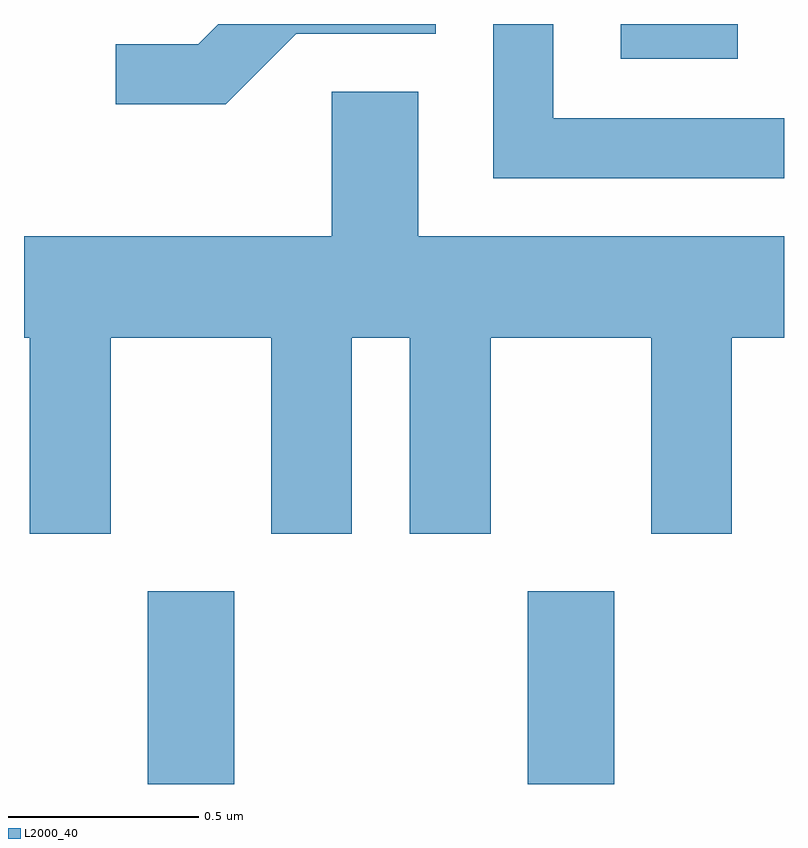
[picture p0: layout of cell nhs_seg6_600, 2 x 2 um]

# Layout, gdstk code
import gdstk
lib = gdstk.Library(unit=1e-6, precision=1e-09)
def R(c, l, rs):  # rectangles x0, y0, x1, y1
    for r in rs: c.add(gdstk.rectangle(r[:2], r[2:], *l))
def P(c, l, *ps):  # polygons
    for p in ps: c.add(gdstk.Polygon(p, *l))
L2000_40 = (2000, 40)

nhs_seg6_600 = lib.new_cell('nhs_seg6_600')
R(nhs_seg6_600, L2000_40, [(189.936,1582.162,190.164,1582.669), (190.936,1582.162,191.164,1582.669), (191.181,1584.071,191.489,1584.162)])
P(nhs_seg6_600, L2000_40, [(191.611,1583.914),(191.004,1583.914),(191.004,1584.162),(190.846,1584.162),(190.846,1583.756),(191.611,1583.756)],
  [(190.327,1584.136),(190.694,1584.136),(190.694,1584.162),(190.122,1584.162),(190.069,1584.109),(189.853,1584.109),(189.853,1583.951),(190.142,1583.951)],
  [(189.839,1583.336),(190.261,1583.336),(190.261,1582.821),(190.474,1582.821),(190.474,1583.336),(190.626,1583.336),(190.626,1582.821),(190.839,1582.821),(190.839,1583.336),(191.261,1583.336),(191.261,1582.821),(191.474,1582.821),(191.474,1583.336),(191.611,1583.336),(191.611,1583.604),(190.649,1583.604),(190.649,1583.984),(190.421,1583.984),(190.421,1583.604),(189.611,1583.604),(189.611,1583.336),(189.626,1583.336),(189.626,1582.821),(189.839,1582.821)])

lib.write_gds('nhs_seg6_600.gds')
